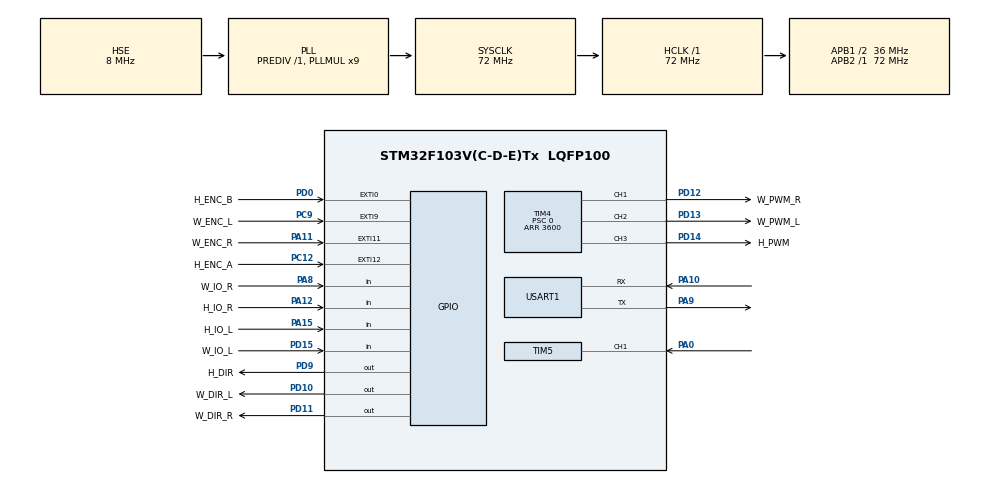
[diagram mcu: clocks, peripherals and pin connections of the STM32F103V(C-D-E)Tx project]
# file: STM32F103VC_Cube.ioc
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Dma.Request0=USART1_RX
Dma.Request1=USART1_TX
Dma.USART1_RX.0.Direction=DMA_PERIPH_TO_MEMORY
Dma.USART1_RX.0.Instance=DMA1_Channel5
Dma.USART1_RX.0.MemDataAlignment=DMA_MDATAALIGN_BYTE
Dma.USART1_RX.0.MemInc=DMA_MINC_ENABLE
Dma.USART1_RX.0.Mode=DMA_NORMAL
Dma.USART1_RX.0.PeriphDataAlignment=DMA_PDATAALIGN_BYTE
Dma.USART1_RX.0.PeriphInc=DMA_PINC_DISABLE
Dma.USART1_RX.0.Priority=DMA_PRIORITY_LOW
Dma.USART1_TX.1.Direction=DMA_MEMORY_TO_PERIPH
Dma.USART1_TX.1.Instance=DMA1_Channel4
Dma.USART1_TX.1.MemDataAlignment=DMA_MDATAALIGN_BYTE
Dma.USART1_TX.1.MemInc=DMA_MINC_ENABLE
Dma.USART1_TX.1.Mode=DMA_NORMAL
Dma.USART1_TX.1.PeriphDataAlignment=DMA_PDATAALIGN_BYTE
Dma.USART1_TX.1.PeriphInc=DMA_PINC_DISABLE
Dma.USART1_TX.1.Priority=DMA_PRIORITY_LOW
Mcu.Family=STM32F1
Mcu.Name=STM32F103V(C-D-E)Tx
Mcu.Package=LQFP100
NVIC.DMA1_Channel4_IRQn=true\:0\:0\:false\:false\:true
NVIC.DMA1_Channel5_IRQn=true\:0\:0\:false\:false\:true
NVIC.EXTI0_IRQn=true\:0\:0\:false\:false\:true
NVIC.EXTI15_10_IRQn=true\:0\:0\:false\:false\:true
NVIC.EXTI9_5_IRQn=true\:0\:0\:false\:false\:true
NVIC.PriorityGroup=NVIC_PRIORITYGROUP_4
NVIC.USART1_IRQn=true\:0\:0\:false\:false\:true
OSC_IN.Mode=HSE-External-Oscillator
OSC_IN.Signal=RCC_OSC_IN
OSC_OUT.Mode=HSE-External-Oscillator
OSC_OUT.Signal=RCC_OSC_OUT
PA0-WKUP.Signal=S_TIM5_CH1
PA10.Mode=Asynchronous
PA10.Signal=USART1_RX
PA11.GPIO_Label=W_ENC_R
PA11.GPIO_ModeDefaultEXTI=GPIO_MODE_IT_RISING_FALLING
PA11.Signal=GPXTI11
PA12.GPIO_Label=H_IO_R
PA12.Signal=GPIO_Input
PA15.GPIO_Label=H_IO_L
PA15.Signal=GPIO_Input
PA8.GPIO_Label=W_IO_R
PA8.Signal=GPIO_Input
PA9.Mode=Asynchronous
PA9.Signal=USART1_TX
PC12.GPIO_Label=H_ENC_A
PC12.GPIO_ModeDefaultEXTI=GPIO_MODE_IT_RISING_FALLING
PC12.Signal=GPXTI12
PC9.GPIO_Label=W_ENC_L
PC9.GPIO_ModeDefaultEXTI=GPIO_MODE_IT_RISING_FALLING
PC9.Signal=GPXTI9
PD0.GPIO_Label=H_ENC_B
PD0.GPIO_ModeDefaultEXTI=GPIO_MODE_IT_RISING_FALLING
PD0.Signal=GPXTI0
PD10.GPIO_Label=W_DIR_L
PD10.Signal=GPIO_Output
PD11.GPIO_Label=W_DIR_R
PD11.Signal=GPIO_Output
PD12.GPIO_Label=W_PWM_R
PD12.Signal=S_TIM4_CH1
PD13.GPIO_Label=W_PWM_L
PD13.Signal=S_TIM4_CH2
PD14.GPIO_Label=H_PWM
PD14.Signal=S_TIM4_CH3
PD15.GPIO_Label=W_IO_L
PD15.Signal=GPIO_Input
PD9.GPIO_Label=H_DIR
PD9.Signal=GPIO_Output
ProjectManager.HeapSize=0x1000
ProjectManager.StackSize=0x400
ProjectManager.TargetToolchain=MDK-ARM V5
RCC.AHBFreq_Value=72000000
RCC.APB1CLKDivider=RCC_HCLK_DIV2
RCC.APB1Freq_Value=36000000
RCC.APB1TimFreq_Value=72000000
RCC.APB2Freq_Value=72000000
RCC.APB2TimFreq_Value=72000000
RCC.HCLKFreq_Value=72000000
RCC.HSIState=RCC_HSI_ON
RCC.PLLMUL=RCC_PLL_MUL9
RCC.PLLSourceVirtual=RCC_PLLSOURCE_HSE
RCC.SYSCLKFreq_VALUE=72000000
RCC.SYSCLKSource=RCC_SYSCLKSOURCE_PLLCLK
RCC.USBFreq_Value=72000000
SH.S_TIM4_CH1.0=TIM4_CH1,PWM Generation1 CH1
SH.S_TIM4_CH2.0=TIM4_CH2,PWM Generation2 CH2
SH.S_TIM4_CH3.0=TIM4_CH3,PWM Generation3 CH3
SH.S_TIM5_CH1.0=TIM5_CH1,Input_Capture1_from_TI1
TIM4.Channel-PWM\ Generation2\ CH2=TIM_CHANNEL_2
TIM4.Channel-PWM\ Generation3\ CH3=TIM_CHANNEL_3
TIM4.Period=3600
TIM4.Prescaler=0
TIM4.Pulse-PWM\ Generation1\ CH1=0
TIM4.Pulse-PWM\ Generation2\ CH2=0
TIM4.Pulse-PWM\ Generation3\ CH3=0
VP_SYS_VS_ND.Mode=No_Debug
board=STM32F103VC_Cube

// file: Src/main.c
/**
  ******************************************************************************
  * File Name          : main.c
  * Description        : Main program body
  ******************************************************************************
  *
  * COPYRIGHT(c) 2016 STMicroelectronics
  *
  * Redistribution and use in source and binary forms, with or without modification,
  * are permitted provided that the following conditions are met:
  *   1. Redistributions of source code must retain the above copyright notice,
  *      this list of conditions and the following disclaimer.
  *   2. Redistributions in binary form must reproduce the above copyright notice,
  *      this list of conditions and the following disclaimer in the documentation
  *      and/or other materials provided with the distribution.
  *   3. Neither the name of STMicroelectronics nor the names of its contributors
  *      may be used to endorse or promote products derived from this software
  *      without specific prior written permission.
  *
  * THIS SOFTWARE IS PROVIDED BY THE COPYRIGHT HOLDERS AND CONTRIBUTORS "AS IS"
  * AND ANY EXPRESS OR IMPLIED WARRANTIES, INCLUDING, BUT NOT LIMITED TO, THE
  * IMPLIED WARRANTIES OF MERCHANTABILITY AND FITNESS FOR A PARTICULAR PURPOSE ARE
  * DISCLAIMED. IN NO EVENT SHALL THE COPYRIGHT HOLDER OR CONTRIBUTORS BE LIABLE
  * FOR ANY DIRECT, INDIRECT, INCIDENTAL, SPECIAL, EXEMPLARY, OR CONSEQUENTIAL
  * DAMAGES (INCLUDING, BUT NOT LIMITED TO, PROCUREMENT OF SUBSTITUTE GOODS OR
  * SERVICES; LOSS OF USE, DATA, OR PROFITS; OR BUSINESS INTERRUPTION) HOWEVER
  * CAUSED AND ON ANY THEORY OF LIABILITY, WHETHER IN CONTRACT, STRICT LIABILITY,
  * OR TORT (INCLUDING NEGLIGENCE OR OTHERWISE) ARISING IN ANY WAY OUT OF THE USE
  * OF THIS SOFTWARE, EVEN IF ADVISED OF THE POSSIBILITY OF SUCH DAMAGE.
  *
  ******************************************************************************
  */
#include "main.h"
#include "stm32f1xx_hal.h"
#include "dma.h"
#include "tim.h"
#include "usart.h"
#include "gpio.h"

/* USER CODE BEGIN Includes */
#include "TaskTimeManager.h"
#include "ComBuff.h"
#include "ProtocolFrame.h"
#include "ProtocolHandle.h"
#include "MotorDriver.h"
#include "MotorHeadDriver.h"
#include "MotorWingDriver.h"
/* USER CODE END Includes */

/* USER CODE BEGIN PV */
/* Private variables ---------------------------------------------------------*/

/* USER CODE END PV */

void SystemClock_Config(void);
void Error_Handler(void);

/* USER CODE BEGIN PFP */
/* Private function prototypes -----------------------------------------------*/

/* USER CODE END PFP */

/* USER CODE BEGIN 0 */
SYSTEM_MODE System_Mode = Self_Inspection;
int8_t Heart_Flag = -1;
int8_t Self_Inspection_TaskID = -1;
//---------心跳检查---------------
void Heart_Check(void){
	if(Heart_Flag == 0){
    printf("心跳终止\r\n");
	}else if(Heart_Flag == 1){

		Heart_Flag = 0;
	}
}

uint8_t m_data = 0;
uint8_t addr = 0;
void LED_TEST(void){
  static uint8_t seq = 0;
//  uint8_t data[100] = "123456\r\n";
//  Uart1_DMA_Sender.Write(&Uart1_DMA_Sender, data, 8);
//  memset(data, 0, 8);
  //PRINT_HEAP();
  printf("LED_TEST:%d\r\n", seq++);
}

void Test(void){
  static uint8_t f = 0;
  HAL_GPIO_WritePin(GPIOD, GPIO_PIN_9, (GPIO_PinState)f);
  f = ~f;
  TIM4->CCR3 = 1800;
}
/* USER CODE END 0 */

int main(void)
{

  /* MCU Configuration----------------------------------------------------------*/

  /* Reset of all peripherals, Initializes the Flash interface and the Systick. */
  HAL_Init();

  /* Configure the system clock */
  SystemClock_Config();

  /* Initialize all configured peripherals */
  MX_GPIO_Init();
  MX_DMA_Init();
  MX_USART1_UART_Init();
  MX_TIM4_Init();
  MX_TIM5_Init();

  /* USER CODE BEGIN 2 */
  TaskTime_Init();
  ProtocolFrame_Init();
  Log_Init();
  ComBuff_Init();

  MotorInt();
  #ifndef PRINT_ERR
		#ifndef BUILD_BIN
//		DelayS(2);
		#endif
	#else
		printf("main done\r\n");
	#endif
	printf("V%c.%c.%c",MAJORVERSION,MINORVERSION,BATEVERSION);
	ReportSnVersion_Protocol();
  TaskTime_Add(TaskID++, TimeCycle(5, 0), LED_TEST, Count_Mode);
  TaskTime_Add(TaskID++, TimeCycle(0,30), SenderKeepTransmit, Count_Mode);
  TaskTime_Add(TaskID++, TimeCycle(0,30), PaddingProtocol, Count_Mode);
	TaskTime_Add(TaskID++, TimeCycle(0,30), FetchProtocols, Count_Mode);
//	TaskTime_Add(TaskID++, TimeCycle(1,0), Test, Count_Mode);
	//-----------自检-----------------------------
  Self_Inspection_TaskID = TaskTime_Add(TaskID++, TimeCycle(1,0), Board_Self_Inspection, Count_Mode);
  //------------------------扫描电机限位情况----------------------------
	TaskTime_Add(TaskID++, TimeCycle(0,30), ScanMotorLimit, Count_Mode);
#ifndef PRINT_ERR
  //------------------------上报协议----------------------------
	//TaskTime_Add(TaskID++, TimeCycle(0,200), UpLoadState, Count_Mode);
  //------------------------检查心跳----------------------------
	//TaskTime_Add(TaskID++, TimeCycle(0,500), Heart_Check, Count_Mode);
#endif
  //------------------------头部PID----------------------------
	TaskTime_Add(TaskID++, TimeCycle(0,100), HeadPidRun, Count_Mode);
  //------------------------电流数据----------------------------
	//TaskTime_Add(TaskID++, TimeCycle(0,100), ReadCurrent, Count_Mode);

  /* USER CODE END 2 */

  /* Infinite loop */
  while (1)
  {

  /* USER CODE BEGIN 3 */
    TaskTime_Run();

  }
  /* USER CODE END 3 */

}

/** System Clock Configuration
*/
void SystemClock_Config(void)
{

  RCC_OscInitTypeDef RCC_OscInitStruct;
  RCC_ClkInitTypeDef RCC_ClkInitStruct;

    /**Initializes the CPU, AHB and APB busses clocks
    */
  RCC_OscInitStruct.OscillatorType = RCC_OSCILLATORTYPE_HSE;
  RCC_OscInitStruct.HSEState = RCC_HSE_ON;
  RCC_OscInitStruct.HSEPredivValue = RCC_HSE_PREDIV_DIV1;
  RCC_OscInitStruct.HSIState = RCC_HSI_ON;
  RCC_OscInitStruct.PLL.PLLState = RCC_PLL_ON;
  RCC_OscInitStruct.PLL.PLLSource = RCC_PLLSOURCE_HSE;
  RCC_OscInitStruct.PLL.PLLMUL = RCC_PLL_MUL9;
  if (HAL_RCC_OscConfig(&RCC_OscInitStruct) != HAL_OK)
  {
    Error_Handler();
  }

    /**Initializes the CPU, AHB and APB busses clocks
    */
  RCC_ClkInitStruct.ClockType = RCC_CLOCKTYPE_HCLK|RCC_CLOCKTYPE_SYSCLK
                              |RCC_CLOCKTYPE_PCLK1|RCC_CLOCKTYPE_PCLK2;
  RCC_ClkInitStruct.SYSCLKSource = RCC_SYSCLKSOURCE_PLLCLK;
  RCC_ClkInitStruct.AHBCLKDivider = RCC_SYSCLK_DIV1;
  RCC_ClkInitStruct.APB1CLKDivider = RCC_HCLK_DIV2;
  RCC_ClkInitStruct.APB2CLKDivider = RCC_HCLK_DIV1;

  if (HAL_RCC_ClockConfig(&RCC_ClkInitStruct, FLASH_LATENCY_2) != HAL_OK)
  {
    Error_Handler();
  }

    /**Configure the Systick interrupt time
    */
  HAL_SYSTICK_Config(HAL_RCC_GetHCLKFreq()/1000);

    /**Configure the Systick
    */
  HAL_SYSTICK_CLKSourceConfig(SYSTICK_CLKSOURCE_HCLK);

  /* SysTick_IRQn interrupt configuration */
  HAL_NVIC_SetPriority(SysTick_IRQn, 0, 0);
}

void Error_Handler(void)
{
  while(1)
  {
  }
}

/************************ (C) COPYRIGHT STMicroelectronics *****END OF FILE****/
